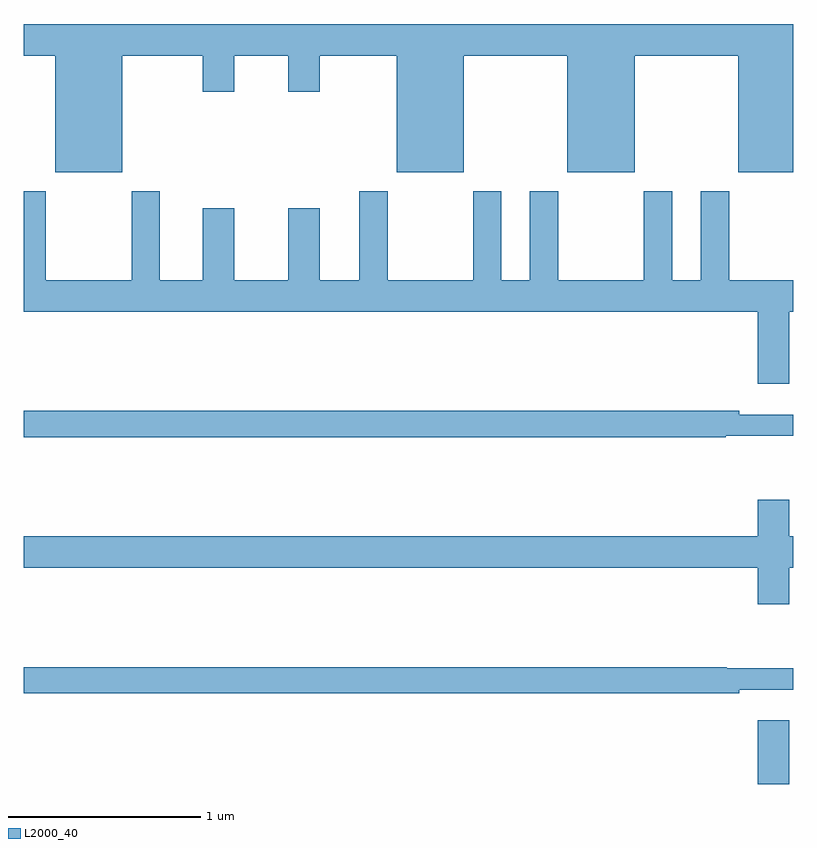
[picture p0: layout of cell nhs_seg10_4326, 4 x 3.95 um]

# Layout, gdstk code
import gdstk
lib = gdstk.Library(unit=1e-6, precision=1e-09)
def R(c, l, rs):  # rectangles x0, y0, x1, y1
    for r in rs: c.add(gdstk.rectangle(r[:2], r[2:], *l))
def P(c, l, *ps):  # polygons
    for p in ps: c.add(gdstk.Polygon(p, *l))
L2000_40 = (2000, 40)

nhs_seg10_4326 = lib.new_cell('nhs_seg10_4326')
R(nhs_seg10_4326, L2000_40, [(356.816,1324.5,356.98,1324.831)])
P(nhs_seg10_4326, L2000_40, [(353.512,1328.288),(353.93,1328.288),(353.93,1328.1),(354.094,1328.1),(354.094,1328.288),(354.374,1328.288),(354.374,1328.1),(354.538,1328.1),(354.538,1328.288),(354.938,1328.288),(354.938,1327.682),(355.288,1327.682),(355.288,1328.288),(355.826,1328.288),(355.826,1327.682),(356.176,1327.682),(356.176,1328.288),(356.714,1328.288),(356.714,1327.682),(357,1327.682),(357,1328.452),(353,1328.452),(353,1328.288),(353.162,1328.288),(353.162,1327.682),(353.512,1327.682)],
  [(356.98,1326.956),(357,1326.956),(357,1327.12),(356.667,1327.12),(356.667,1327.582),(356.519,1327.582),(356.519,1327.12),(356.371,1327.12),(356.371,1327.582),(356.224,1327.582),(356.224,1327.12),(355.779,1327.12),(355.779,1327.582),(355.631,1327.582),(355.631,1327.12),(355.483,1327.12),(355.483,1327.582),(355.336,1327.582),(355.336,1327.12),(354.891,1327.12),(354.891,1327.582),(354.743,1327.582),(354.743,1327.12),(354.538,1327.12),(354.538,1327.495),(354.374,1327.495),(354.374,1327.12),(354.094,1327.12),(354.094,1327.495),(353.93,1327.495),(353.93,1327.12),(353.707,1327.12),(353.707,1327.582),(353.56,1327.582),(353.56,1327.12),(353.115,1327.12),(353.115,1327.582),(353,1327.582),(353,1326.956),(356.816,1326.956),(356.816,1326.582),(356.98,1326.582)],
  [(356.65,1326.312),(357,1326.312),(357,1326.421),(356.72,1326.421),(356.72,1326.44),(353,1326.44),(353,1326.304),(356.65,1326.304)],
  [(356.98,1325.624),(357,1325.624),(357,1325.788),(356.98,1325.788),(356.98,1325.977),(356.816,1325.977),(356.816,1325.788),(353,1325.788),(353,1325.624),(356.816,1325.624),(356.816,1325.436),(356.98,1325.436)],
  [(356.72,1324.991),(357,1324.991),(357,1325.101),(356.655,1325.101),(356.655,1325.108),(353,1325.108),(353,1324.972),(356.72,1324.972)])

lib.write_gds('nhs_seg10_4326.gds')
